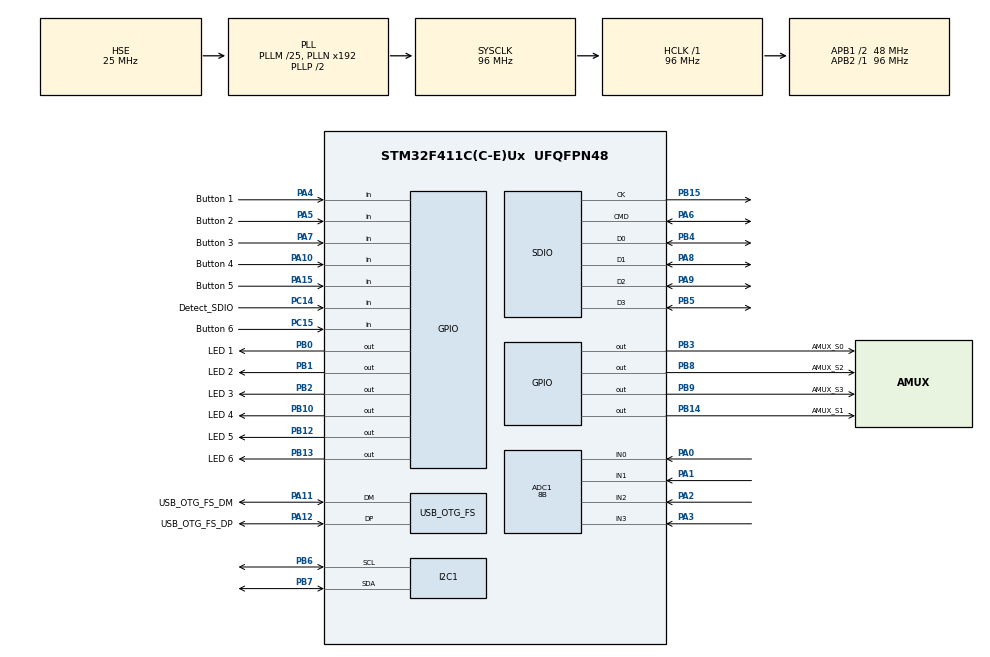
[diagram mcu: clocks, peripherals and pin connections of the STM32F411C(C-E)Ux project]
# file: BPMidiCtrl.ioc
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PA11.GPIO_Speed=GPIO_SPEED_FREQ_LOW
Mcu.Family=STM32F4
PA6.Mode=SD_4_bits_Wide_bus
USB_DEVICE.CLASS_NAME_FS=AUDIO
RCC.CortexFreq_Value=96000000
FATFS._USE_LFN=1
FATFS0.BSP.api=Unknown
ADC1.ContinuousConvMode=ENABLE
VP_FATFS_VS_SDIO.Mode=SDIO
PA10.GPIO_PuPd=GPIO_PULLUP
SH.ADCx_IN2.0=ADC1_IN2,IN2
PB14.GPIO_Label=AMUX_S1
VP_RTC_VS_RTC_Activate.Mode=RTC_Enabled
PA11.Mode=Device_Only
PB0.GPIO_Label=LED 1
PB13.GPIO_Label=LED 6
PB13.Signal=GPIO_Output
PB15.Signal=SDIO_CK
PC15-OSC32_OUT.GPIO_Label=Button 6
RCC.SYSCLKSource=RCC_SYSCLKSOURCE_PLLCLK
ProjectManager.StackSize=0x400
PA15.GPIO_Label=Button 5
PA12.Signal=USB_OTG_FS_DP
PH0\ -\ OSC_IN.Signal=RCC_OSC_IN
RCC.HCLKFreq_Value=96000000
SH.ADCx_IN3.0=ADC1_IN3,IN3
ADC1.Resolution=ADC_RESOLUTION_8B
RCC.APB2TimFreq_Value=96000000
PB6.Signal=I2C1_SCL
PB6.Mode=I2C
RCC.AHBFreq_Value=96000000
FATFS0.BSP.ip=GPIO
ADC1.Channel-0\#ChannelRegularConversion=ADC_CHANNEL_0
RCC.HSE_VALUE=25000000
PA4.GPIO_PuPd=GPIO_PULLUP
PB2.Signal=GPIO_Output
ADC1.ScanConvMode=ENABLE
FATFS0.BSP.i2caddr=0
PB12.GPIO_Label=LED 5
PB4.Mode=SD_4_bits_Wide_bus
PA14.Mode=Serial_Wire
PA5.GPIO_PuPd=GPIO_PULLUP
PB1.GPIO_Label=LED 2
PB5.Mode=SD_4_bits_Wide_bus
PA10.GPIO_Label=Button 4
PB7.Signal=I2C1_SDA
PA8.Signal=SDIO_D1
SH.ADCx_IN0.0=ADC1_IN0,IN0
ADC1.SamplingTime-0\#ChannelRegularConversion=ADC_SAMPLETIME_3CYCLES
Mcu.Package=UFQFPN48
PB9.Signal=GPIO_Output
PB1.Signal=GPIO_Output
PA6.Signal=SDIO_CMD
FATFS0.BSP.solution=PC14-OSC32_IN
NVIC.OTG_FS_IRQn=true\:0\:0\:false\:false\:true\:false\:true
PA10.Signal=GPIO_Input
USB_OTG_FS.VirtualMode=Device_Only
PA15.Signal=GPIO_Input
SH.ADCx_IN1.0=ADC1_IN1,IN1
RCC.APB1TimFreq_Value=96000000
PC14-OSC32_IN.GPIO_Label=Detect_SDIO
PA4.GPIO_Label=Button 1
ADC1.EOCSelection=ADC_EOC_SEQ_CONV
PA12.GPIO_Speed=GPIO_SPEED_FREQ_LOW
PB4.Signal=SDIO_D0
PA3.Signal=ADCx_IN3
PB3.GPIO_Label=AMUX_S0
FATFS0.BSP.STBoard=false
ADC1.Rank-0\#ChannelRegularConversion=1
PB9.GPIO_Label=AMUX_S3
USB_DEVICE.VirtualModeFS=Audio_FS
FATFS0.BSP.mode=Input
PH1\ -\ OSC_OUT.Mode=HSE-External-Oscillator
PA11.GPIO_Label=USB_OTG_FS_DM
RCC.APB1CLKDivider=RCC_HCLK_DIV2
PC14-OSC32_IN.Signal=GPIO_Input
PA12.GPIO_Label=USB_OTG_FS_DP
PA0-WKUP.Signal=ADCx_IN0
FATFS0.BSP.instance=PC14-OSC32_IN
PA13.Signal=SYS_JTMS-SWDIO
PB8.GPIO_Label=AMUX_S2
PA9.Mode=SD_4_bits_Wide_bus
PH0\ -\ OSC_IN.Mode=HSE-External-Oscillator
ProjectManager.TargetToolchain=STM32CubeIDE
PB10.GPIO_Label=LED 4
I2C1.I2C_Mode=I2C_Fast
PA9.Signal=SDIO_D2
SDIO.ClockDiv=8
RCC.LSE_VALUE=32768
PC15-OSC32_OUT.Signal=GPIO_Input
PA1.Signal=ADCx_IN1
PA7.GPIO_PuPd=GPIO_PULLUP
PB10.Signal=GPIO_Output
PB14.Signal=GPIO_Output
FATFS.BSP.number=1
PA5.Signal=GPIO_Input
PH1\ -\ OSC_OUT.Signal=RCC_OSC_OUT
board=custom
RCC.VCOOutputFreq_Value=192000000
PB15.Mode=SD_4_bits_Wide_bus
RCC.APB2Freq_Value=96000000
PC15-OSC32_OUT.GPIO_PuPd=GPIO_PULLUP
ADC1.DMAContinuousRequests=DISABLE
VP_USB_DEVICE_VS_USB_DEVICE_AUDIO_FS.Mode=AUDIO_FS
ADC1.NbrOfConversion=1
FATFS._USE_FIND=1
PA13.Mode=Serial_Wire
Mcu.Name=STM32F411C(C-E)Ux
PA2.Signal=ADCx_IN2
RCC.48MHZClocksFreq_Value=48000000
PB3.Signal=GPIO_Output
PA4.Signal=GPIO_Input
RCC.SYSCLKFreq_VALUE=96000000
PB5.Signal=SDIO_D3
PA7.GPIO_Label=Button 3
ADC1.master=1
PA12.Mode=Device_Only
PA5.GPIO_Label=Button 2
PB7.Mode=I2C
PA11.Signal=USB_OTG_FS_DM
PA14.Signal=SYS_JTCK-SWCLK
PB2.GPIO_Label=LED 3
ProjectManager.HeapSize=0x1000
RCC.HSI_VALUE=16000000
NVIC.PriorityGroup=NVIC_PRIORITYGROUP_4
ADC1.NbrOfConversionFlag=1
RCC.PLLM=25
PA15.GPIO_PuPd=GPIO_PULLUP
PB8.Signal=GPIO_Output
PC14-OSC32_IN.GPIO_PuPd=GPIO_PULLDOWN
PA8.Mode=SD_4_bits_Wide_bus
RCC.APB1Freq_Value=48000000
PB0.Signal=GPIO_Output
USB_DEVICE.VirtualMode=Audio
ADC1.ClockPrescaler=ADC_CLOCK_SYNC_PCLK_DIV4
PB12.Signal=GPIO_Output
FATFS0.BSP.name=Detect_SDIO
PA7.Signal=GPIO_Input

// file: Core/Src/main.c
/* USER CODE BEGIN Header */
/**
 ******************************************************************************
 * @file           : main.c
 * @brief          : Main program body
 ******************************************************************************
 * @attention
 *
 * <h2><center>&copy; Copyright (c) 2021 STMicroelectronics.
 * All rights reserved.</center></h2>
 *
 * This software component is licensed by ST under BSD 3-Clause license,
 * the "License"; You may not use this file except in compliance with the
 * License. You may obtain a copy of the License at:
 *                        opensource.org/licenses/BSD-3-Clause
 *
 ******************************************************************************
 */
/* USER CODE END Header */
#include "main.h"
#include "fatfs.h"
#include "usb_device.h"

/* USER CODE BEGIN Includes */
#include <stdio.h>
#include <stdbool.h>
#include <time.h>
#include "adc.h"
#include "ssd1306.h"
#include "button.h"
#include "led.h"
#include "sd.h"
#include "midi.h"
#include "knob.h"
#include "preset.h"
/* USER CODE END Includes */

ADC_HandleTypeDef hadc1;

I2C_HandleTypeDef hi2c1;

RTC_HandleTypeDef hrtc;

SD_HandleTypeDef hsd;

/* USER CODE BEGIN PV */
State state = NORMAL;
/* USER CODE END PV */

void SystemClock_Config(void);
static void MX_GPIO_Init(void);
static void MX_ADC1_Init(void);
static void MX_I2C1_Init(void);
static void MX_SDIO_SD_Init(void);
static void MX_RTC_Init(void);
/* USER CODE BEGIN PFP */
void MenuStateMachine(State *s);

void initDisplays() {
    for (uint8_t i = 0; i < NUM_KNOBS; i++) {
        ssd1306_Init(&knobs[Knob_Index(i)]);
        if (isPresetFilenamesLoaded)
            ssd1306_WriteKnob(&knobs[Knob_Index(i)]);
    }
}
/* USER CODE END PFP */

int main(void)
{

  /* MCU Configuration--------------------------------------------------------*/

  /* Reset of all peripherals, Initializes the Flash interface and the Systick. */
  HAL_Init();

  /* Configure the system clock */
  SystemClock_Config();

  /* Initialize all configured peripherals */
  MX_GPIO_Init();
  MX_ADC1_Init();
  MX_I2C1_Init();
  MX_USB_DEVICE_Init();
  MX_SDIO_SD_Init();
  MX_RTC_Init();
  MX_FATFS_Init();

  /* Infinite loop */
  /* USER CODE BEGIN WHILE */

    // Set up SysTick timer for button handling
    SystemCoreClockUpdate();
    SysTick_Config(SystemCoreClock / 40);

    Knob_Init();

    // Load the first preset (TODO: load the last preset used)
    isPresetFilenamesLoaded = SD_FetchPresetNames();
    SD_LoadPreset(presets[0].filename);

    // Init displays
    initDisplays();

    State *s = &state;
    isPresetFilenamesLoaded = false;

    while (1) {
        MenuStateMachine(s);

        for (uint8_t col = 0; col < 4; col++) {
            ADC_ReadKnobs(col);

            for (uint8_t i = 0; i < NUM_ADC_CHANNELS; i++) {
                uint16_t index1D = col + NUM_COLS * i;

                if (*s == LOAD_PRESET) {
                    if (col > 0) continue;

                    uint16_t knobDiff = abs(adcAveraged[i] - adcAveragedPrev[i]);

                    if (knobDiff > KNOB_SELECT_THRESHOLD && index1D < numPresets) {
                        bool loadComplete = false;

                        if (isPresetFilenamesLoaded) {
                            loadComplete = SD_LoadPreset(presets[index1D].filename);
                            isPresetFilenamesLoaded = false;
                        }

                        if (loadComplete) {
                            *s = NORMAL;
                            isDisplaysLocked = false;
                            //ssd1306_WriteLoadNotification();
                        }
                    }
                    continue;
                }

                if (*s == NORMAL) {
                    uint8_t curr_MIDI_val = MIDI_Scale_And_Filter(&knobs[Knob_Index(index1D)], adcAveraged[i]);
                    if (curr_MIDI_val != knobs[Knob_Index(index1D)].value) {
                        knobs[Knob_Index(index1D)].value = curr_MIDI_val;
                        ssd1306_WriteKnob(&knobs[Knob_Index(index1D)]);

                        if (knobs[Knob_Index(index1D)].value == knobs[Knob_Index(index1D)].lock_value)
                            knobs[Knob_Index(index1D)].isLocked = false;

                        //if (!knobs[Knob_Index(index1D)].isLocked)
                            //MIDI_Send(&knobs[Knob_Index(index1D)], knobs[Knob_Index(index1D)].value);
                    }
                }
            }
        }
    }

    for (uint8_t i = 0; i < NUM_KNOBS; i++) {
        Knob_Free(&knobs[Knob_Index(i)]);
    }
}

    /* USER CODE END WHILE */

    /* USER CODE BEGIN 3 */
/**
 * @brief Switches between menu states and performs the appropriate actions
 *        (Manage LEDs, Display writes and menu state transitions)
 * @retval None
 */
void MenuStateMachine(State *s) {
    switch (*s) {
    case NORMAL:
        if (!isDisplaysLocked) {
            ssd1306_WriteAllKnobs();
            isDisplaysLocked = true;
        }

        // Handle page switch
        for (uint8_t i = 0; i < BUTTON_3 ; i++) {
            if (Button_IsDown(i) && i != knobPage) {
                Knob_LockAll();
                LED_Off(knobPage);
                knobPage = i;
                break;
            }
        }

        LED_AllOff();
        LED_On(knobPage);

        if (Button_IsDown(BUTTON_MENU)) *s = MENU;
        break;
    case MENU:
        if (!isDisplaysLocked) {
            ssd1306_WriteMainMenu();
            isDisplaysLocked = true;
        }

        LED_AllOff();
        LED_On(BUTTON_MENU);

        if (Button_IsDown(BUTTON_MENU)) *s = NORMAL;
        else if (Button_IsDown(BUTTON_1)) *s = LOAD_PRESET;
        else if (Button_IsDown(BUTTON_2)) *s = SAVE_PRESET;

        Button_Ignore(BUTTON_3);
        Button_Ignore(BUTTON_4);
        Button_Ignore(BUTTON_5);
        break;
    case LOAD_PRESET:
        isPresetFilenamesLoaded = SD_FetchPresetNames();

        if (!isDisplaysLocked) {
            ADC_ReadKnobs(0);

            for (uint8_t i = 0; i < NUM_ADC_CHANNELS; i++) {
                adcAveragedPrev[i] = adcAveraged[i];
            }

            ssd1306_WritePresets();
            isDisplaysLocked = true;
        }

        LED_On(BUTTON_1);

        if (Button_IsDown(BUTTON_MENU)) *s = MENU;

        Button_Ignore(BUTTON_1);
        Button_Ignore(BUTTON_2);
        break;
    case SAVE_PRESET:
        SD_SavePreset();

        if (!isDisplaysLocked) {
            //ssd1306_WriteSaveNotification();
            ssd1306_FillAll(Black);
            isDisplaysLocked = true;
        }

        LED_On(BUTTON_2);

        *s = MENU;

        //if (Button_IsDown(BUTTON_MENU)) *s = MENU;

        Button_Ignore(BUTTON_1);
        Button_Ignore(BUTTON_2);
        break;
    }

  /* USER CODE END 3 */
}

void SystemClock_Config(void)
{
  RCC_OscInitTypeDef RCC_OscInitStruct = {0};
  RCC_ClkInitTypeDef RCC_ClkInitStruct = {0};
  RCC_PeriphCLKInitTypeDef PeriphClkInitStruct = {0};

  /** Configure the main internal regulator output voltage
  */
  __HAL_RCC_PWR_CLK_ENABLE();
  __HAL_PWR_VOLTAGESCALING_CONFIG(PWR_REGULATOR_VOLTAGE_SCALE1);
  /** Initializes the RCC Oscillators according to the specified parameters
  * in the RCC_OscInitTypeDef structure.
  */
  RCC_OscInitStruct.OscillatorType = RCC_OSCILLATORTYPE_LSI|RCC_OSCILLATORTYPE_HSE;
  RCC_OscInitStruct.HSEState = RCC_HSE_ON;
  RCC_OscInitStruct.LSIState = RCC_LSI_ON;
  RCC_OscInitStruct.PLL.PLLState = RCC_PLL_ON;
  RCC_OscInitStruct.PLL.PLLSource = RCC_PLLSOURCE_HSE;
  RCC_OscInitStruct.PLL.PLLM = 25;
  RCC_OscInitStruct.PLL.PLLN = 192;
  RCC_OscInitStruct.PLL.PLLP = RCC_PLLP_DIV2;
  RCC_OscInitStruct.PLL.PLLQ = 4;
  if (HAL_RCC_OscConfig(&RCC_OscInitStruct) != HAL_OK)
  {
    Error_Handler();
  }
  /** Initializes the CPU, AHB and APB buses clocks
  */
  RCC_ClkInitStruct.ClockType = RCC_CLOCKTYPE_HCLK|RCC_CLOCKTYPE_SYSCLK
                              |RCC_CLOCKTYPE_PCLK1|RCC_CLOCKTYPE_PCLK2;
  RCC_ClkInitStruct.SYSCLKSource = RCC_SYSCLKSOURCE_PLLCLK;
  RCC_ClkInitStruct.AHBCLKDivider = RCC_SYSCLK_DIV1;
  RCC_ClkInitStruct.APB1CLKDivider = RCC_HCLK_DIV2;
  RCC_ClkInitStruct.APB2CLKDivider = RCC_HCLK_DIV1;

  if (HAL_RCC_ClockConfig(&RCC_ClkInitStruct, FLASH_LATENCY_3) != HAL_OK)
  {
    Error_Handler();
  }
  PeriphClkInitStruct.PeriphClockSelection = RCC_PERIPHCLK_RTC;
  PeriphClkInitStruct.RTCClockSelection = RCC_RTCCLKSOURCE_LSI;
  if (HAL_RCCEx_PeriphCLKConfig(&PeriphClkInitStruct) != HAL_OK)
  {
    Error_Handler();
  }
}

static void MX_ADC1_Init(void)
{

  ADC_ChannelConfTypeDef sConfig = {0};

  /** Configure the global features of the ADC (Clock, Resolution, Data Alignment and number of conversion)
  */
  hadc1.Instance = ADC1;
  hadc1.Init.ClockPrescaler = ADC_CLOCK_SYNC_PCLK_DIV4;
  hadc1.Init.Resolution = ADC_RESOLUTION_8B;
  hadc1.Init.ScanConvMode = ENABLE;
  hadc1.Init.ContinuousConvMode = ENABLE;
  hadc1.Init.DiscontinuousConvMode = DISABLE;
  hadc1.Init.ExternalTrigConvEdge = ADC_EXTERNALTRIGCONVEDGE_NONE;
  hadc1.Init.ExternalTrigConv = ADC_SOFTWARE_START;
  hadc1.Init.DataAlign = ADC_DATAALIGN_RIGHT;
  hadc1.Init.NbrOfConversion = 1;
  hadc1.Init.DMAContinuousRequests = DISABLE;
  hadc1.Init.EOCSelection = ADC_EOC_SEQ_CONV;
  if (HAL_ADC_Init(&hadc1) != HAL_OK)
  {
    Error_Handler();
  }
  /** Configure for the selected ADC regular channel its corresponding rank in the sequencer and its sample time.
  */
  sConfig.Channel = ADC_CHANNEL_0;
  sConfig.Rank = 1;
  sConfig.SamplingTime = ADC_SAMPLETIME_3CYCLES;
  if (HAL_ADC_ConfigChannel(&hadc1, &sConfig) != HAL_OK)
  {
    Error_Handler();
  }

}

static void MX_I2C1_Init(void)
{

  hi2c1.Instance = I2C1;
  hi2c1.Init.ClockSpeed = 400000;
  hi2c1.Init.DutyCycle = I2C_DUTYCYCLE_2;
  hi2c1.Init.OwnAddress1 = 0;
  hi2c1.Init.AddressingMode = I2C_ADDRESSINGMODE_7BIT;
  hi2c1.Init.DualAddressMode = I2C_DUALADDRESS_DISABLE;
  hi2c1.Init.OwnAddress2 = 0;
  hi2c1.Init.GeneralCallMode = I2C_GENERALCALL_DISABLE;
  hi2c1.Init.NoStretchMode = I2C_NOSTRETCH_DISABLE;
  if (HAL_I2C_Init(&hi2c1) != HAL_OK)
  {
    Error_Handler();
  }

}

static void MX_RTC_Init(void)
{

  /** Initialize RTC Only
  */
  hrtc.Instance = RTC;
  hrtc.Init.HourFormat = RTC_HOURFORMAT_24;
  hrtc.Init.AsynchPrediv = 127;
  hrtc.Init.SynchPrediv = 255;
  hrtc.Init.OutPut = RTC_OUTPUT_DISABLE;
  hrtc.Init.OutPutPolarity = RTC_OUTPUT_POLARITY_HIGH;
  hrtc.Init.OutPutType = RTC_OUTPUT_TYPE_OPENDRAIN;
  if (HAL_RTC_Init(&hrtc) != HAL_OK)
  {
    Error_Handler();
  }

}

static void MX_SDIO_SD_Init(void)
{

  hsd.Instance = SDIO;
  hsd.Init.ClockEdge = SDIO_CLOCK_EDGE_RISING;
  hsd.Init.ClockBypass = SDIO_CLOCK_BYPASS_DISABLE;
  hsd.Init.ClockPowerSave = SDIO_CLOCK_POWER_SAVE_DISABLE;
  hsd.Init.BusWide = SDIO_BUS_WIDE_1B;
  hsd.Init.HardwareFlowControl = SDIO_HARDWARE_FLOW_CONTROL_DISABLE;
  hsd.Init.ClockDiv = 8;

}

static void MX_GPIO_Init(void)
{
  GPIO_InitTypeDef GPIO_InitStruct = {0};

  /* GPIO Ports Clock Enable */
  __HAL_RCC_GPIOC_CLK_ENABLE();
  __HAL_RCC_GPIOH_CLK_ENABLE();
  __HAL_RCC_GPIOA_CLK_ENABLE();
  __HAL_RCC_GPIOB_CLK_ENABLE();

  /*Configure GPIO pin Output Level */
  HAL_GPIO_WritePin(GPIOB, LED_1_Pin|LED_2_Pin|LED_3_Pin|LED_4_Pin
                          |LED_5_Pin|LED_6_Pin|AMUX_S1_Pin|AMUX_S0_Pin
                          |AMUX_S2_Pin|AMUX_S3_Pin, GPIO_PIN_RESET);

  /*Configure GPIO pin : Detect_SDIO_Pin */
  GPIO_InitStruct.Pin = Detect_SDIO_Pin;
  GPIO_InitStruct.Mode = GPIO_MODE_INPUT;
  GPIO_InitStruct.Pull = GPIO_PULLDOWN;
  HAL_GPIO_Init(Detect_SDIO_GPIO_Port, &GPIO_InitStruct);

  /*Configure GPIO pin : Button_6_Pin */
  GPIO_InitStruct.Pin = Button_6_Pin;
  GPIO_InitStruct.Mode = GPIO_MODE_INPUT;
  GPIO_InitStruct.Pull = GPIO_PULLUP;
  HAL_GPIO_Init(Button_6_GPIO_Port, &GPIO_InitStruct);

  /*Configure GPIO pins : Button_1_Pin Button_2_Pin Button_3_Pin Button_4_Pin
                           Button_5_Pin */
  GPIO_InitStruct.Pin = Button_1_Pin|Button_2_Pin|Button_3_Pin|Button_4_Pin
                          |Button_5_Pin;
  GPIO_InitStruct.Mode = GPIO_MODE_INPUT;
  GPIO_InitStruct.Pull = GPIO_PULLUP;
  HAL_GPIO_Init(GPIOA, &GPIO_InitStruct);

  /*Configure GPIO pins : LED_1_Pin LED_2_Pin LED_3_Pin LED_4_Pin
                           LED_5_Pin LED_6_Pin AMUX_S1_Pin AMUX_S0_Pin
                           AMUX_S2_Pin AMUX_S3_Pin */
  GPIO_InitStruct.Pin = LED_1_Pin|LED_2_Pin|LED_3_Pin|LED_4_Pin
                          |LED_5_Pin|LED_6_Pin|AMUX_S1_Pin|AMUX_S0_Pin
                          |AMUX_S2_Pin|AMUX_S3_Pin;
  GPIO_InitStruct.Mode = GPIO_MODE_OUTPUT_PP;
  GPIO_InitStruct.Pull = GPIO_NOPULL;
  GPIO_InitStruct.Speed = GPIO_SPEED_FREQ_LOW;
  HAL_GPIO_Init(GPIOB, &GPIO_InitStruct);

}

void Error_Handler(void)
{
    __disable_irq();
    while (1) {
    }
}

/************************ (C) COPYRIGHT STMicroelectronics *****END OF FILE****/
